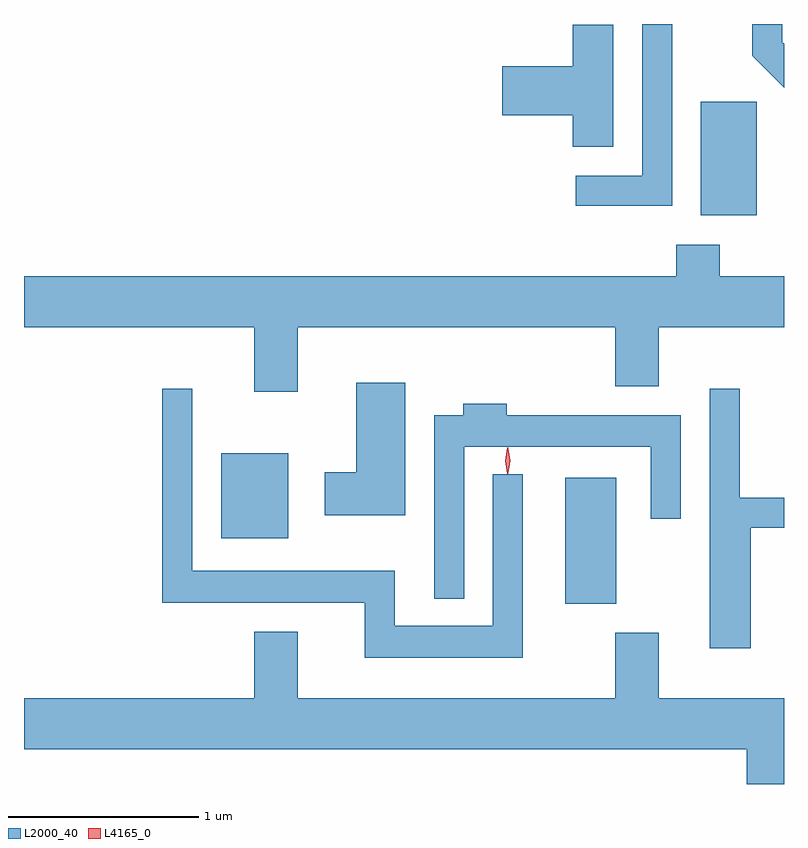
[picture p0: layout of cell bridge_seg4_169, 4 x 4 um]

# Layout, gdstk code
import gdstk
lib = gdstk.Library(unit=1e-6, precision=1e-09)
def R(c, l, rs):  # rectangles x0, y0, x1, y1
    for r in rs: c.add(gdstk.rectangle(r[:2], r[2:], *l))
def P(c, l, *ps):  # polygons
    for p in ps: c.add(gdstk.Polygon(p, *l))
L2000_40 = (2000, 40)
L4165_0 = (4165, 0)

bridge_seg4_169 = lib.new_cell('bridge_seg4_169')
R(bridge_seg4_169, L2000_40, [(950.816,1319.921,951.084,1320.584), (949.006,1320.266,949.359,1320.714), (951.531,1321.966,951.824,1322.564)])
P(bridge_seg4_169, L2000_40, [(951.379,1322.972),(951.221,1322.972),(951.221,1322.174),(950.873,1322.174),(950.873,1322.016),(951.379,1322.016)],
  [(951.968,1322.868),(951.959,1322.877),(951.959,1322.972),(951.801,1322.972),(951.801,1322.804),(951.968,1322.637)],
  [(951.069,1322.969),(950.856,1322.969),(950.856,1322.749),(950.486,1322.749),(950.486,1322.491),(950.856,1322.491),(950.856,1322.326),(951.069,1322.326)],
  [(949.409,1321.376),(951.081,1321.376),(951.081,1321.066),(951.309,1321.066),(951.309,1321.376),(951.968,1321.376),(951.968,1321.644),(951.629,1321.644),(951.629,1321.809),(951.401,1321.809),(951.401,1321.644),(947.968,1321.644),(947.968,1321.376),(949.181,1321.376),(949.181,1321.036),(949.409,1321.036)],
  [(949.974,1321.084),(949.716,1321.084),(949.716,1320.614),(949.551,1320.614),(949.551,1320.386),(949.974,1320.386)],
  [(951.794,1320.321),(951.968,1320.321),(951.968,1320.479),(951.734,1320.479),(951.734,1321.053),(951.576,1321.053),(951.576,1319.686),(951.794,1319.686)],
  [(950.594,1320.603),(950.436,1320.603),(950.436,1319.804),(949.919,1319.804),(949.919,1320.094),(948.854,1320.094),(948.854,1321.053),(948.696,1321.053),(948.696,1319.926),(949.761,1319.926),(949.761,1319.636),(950.594,1319.636)],
  [(950.284,1320.746),(951.266,1320.746),(951.266,1320.368),(951.424,1320.368),(951.424,1320.914),(950.509,1320.914),(950.509,1320.974),(950.281,1320.974),(950.281,1320.914),(950.126,1320.914),(950.126,1319.948),(950.284,1319.948)],
  [(951.968,1319.424),(951.309,1319.424),(951.309,1319.769),(951.081,1319.769),(951.081,1319.424),(949.409,1319.424),(949.409,1319.774),(949.181,1319.774),(949.181,1319.424),(947.968,1319.424),(947.968,1319.156),(951.771,1319.156),(951.771,1318.972),(951.968,1318.972)])
P(bridge_seg4_169, L4165_0, [(950.512,1320.604),(950.502,1320.673),(950.512,1320.742),(950.512,1320.743),(950.513,1320.742),(950.522,1320.673),(950.513,1320.604),(950.513,1320.604)],
  [(950.516,1320.607),(950.516,1320.608),(950.506,1320.674),(950.516,1320.74),(950.516,1320.741),(950.517,1320.74),(950.526,1320.674),(950.517,1320.608)])

lib.write_gds('bridge_seg4_169.gds')
